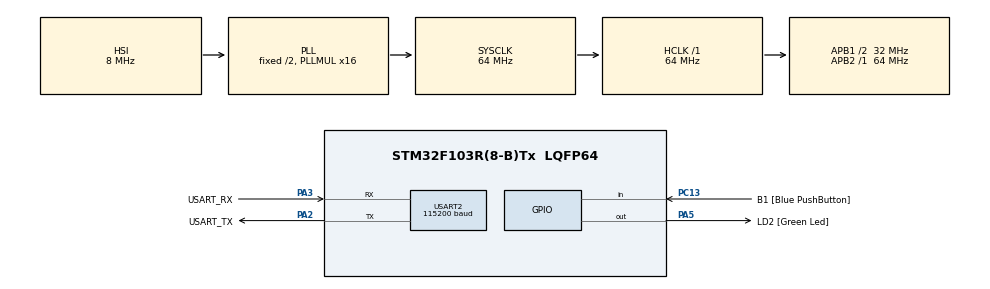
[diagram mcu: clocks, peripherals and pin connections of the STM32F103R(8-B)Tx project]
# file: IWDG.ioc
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IWDG.Prescaler=IWDG_PRESCALER_64
IWDG.Reload=624
Mcu.Family=STM32F1
Mcu.Name=STM32F103R(8-B)Tx
Mcu.Package=LQFP64
NVIC.PriorityGroup=NVIC_PRIORITYGROUP_4
PA13.GPIO_Label=TMS
PA13.Mode=Serial_Wire
PA13.Signal=SYS_JTMS-SWDIO
PA14.GPIO_Label=TCK
PA14.Mode=Serial_Wire
PA14.Signal=SYS_JTCK-SWCLK
PA2.GPIO_Label=USART_TX
PA2.GPIO_Mode=GPIO_MODE_AF_PP
PA2.GPIO_PuPd=GPIO_NOPULL
PA2.GPIO_Speed=GPIO_SPEED_FREQ_LOW
PA2.Mode=Asynchronous
PA2.Signal=USART2_TX
PA3.GPIO_Label=USART_RX
PA3.GPIO_PuPd=GPIO_NOPULL
PA3.GPIO_Speed=GPIO_SPEED_FREQ_LOW
PA3.Mode=Asynchronous
PA3.Signal=USART2_RX
PA5.GPIO_Label=LD2 [Green Led]
PA5.GPIO_ModeDefaultOutputPP=GPIO_MODE_OUTPUT_PP
PA5.GPIO_PuPd=GPIO_NOPULL
PA5.GPIO_Speed=GPIO_SPEED_FREQ_LOW
PA5.Signal=GPIO_Output
PB3.GPIO_Label=SWO
PB3.Signal=SYS_JTDO-TRACESWO
PC13-TAMPER-RTC.GPIO_Label=B1 [Blue PushButton]
PC13-TAMPER-RTC.GPIO_PuPd=GPIO_NOPULL
PC13-TAMPER-RTC.Signal=GPIO_Input
PC14-OSC32_IN.Mode=LSE-External-Oscillator
PC14-OSC32_IN.Signal=RCC_OSC32_IN
PC15-OSC32_OUT.Mode=LSE-External-Oscillator
PC15-OSC32_OUT.Signal=RCC_OSC32_OUT
PD0-OSC_IN.Mode=HSE-External-Clock-Source
PD0-OSC_IN.Signal=RCC_OSC_IN
PD1-OSC_OUT.Mode=HSE-External-Clock-Source
PD1-OSC_OUT.Signal=RCC_OSC_OUT
ProjectManager.HeapSize=0x200
ProjectManager.StackSize=0x400
ProjectManager.TargetToolchain=STM32CubeIDE
RCC.AHBFreq_Value=64000000
RCC.APB1CLKDivider=RCC_HCLK_DIV2
RCC.APB1Freq_Value=32000000
RCC.APB1TimFreq_Value=64000000
RCC.APB2Freq_Value=64000000
RCC.APB2TimFreq_Value=64000000
RCC.HCLKFreq_Value=64000000
RCC.PLLMUL=RCC_PLL_MUL16
RCC.RTCClockSelection=RCC_RTCCLKSOURCE_LSE
RCC.SYSCLKFreq_VALUE=64000000
RCC.SYSCLKSource=RCC_SYSCLKSOURCE_PLLCLK
RCC.USBFreq_Value=64000000
USART2.BaudRate=115200
USART2.VirtualMode=VM_ASYNC
VP_IWDG_VS_IWDG.Mode=IWDG_Activate
board=NUCLEO-F103RB

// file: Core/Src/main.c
/* USER CODE BEGIN Header */
/**
 ******************************************************************************
 * @file           : main.c
 * @brief          : Main program body
 ******************************************************************************
 * @attention
 *
 * Copyright (c) 2026 STMicroelectronics.
 * All rights reserved.
 *
 * This software is licensed under terms that can be found in the LICENSE file
 * in the root directory of this software component.
 * If no LICENSE file comes with this software, it is provided AS-IS.
 *
 ******************************************************************************
 */
/**
 * 07_IWDG_HAL_c  —  [계층: HAL]  독립 워치독(IWDG): 저속 내부 클럭(LSI)으로 도는 "마지막 안전장치"
 *
 * 02_WWDG 와의 비교
 *   WWDG : APB1 클럭 기반, "창(window)" 안에서만 리프레시 허용 (너무 빠른 리프레시도 리셋), 조기 경고 인터럽트, 짧은 타임아웃(ms).
 *   IWDG : **독립 저속 오실레이터 LSI(약 40kHz)** 로 동작 -> 메인 클럭이 죽어도(HSE/PLL 장애) 살아 있다. 타임아웃 전에 리프레시하면 되고
 *          (창 없음), 초 단위 타임아웃 가능. 한 번 켜면 **리셋 외에는 끌 수 없다**(LSI 도 자동으로 켜진다).
 *
 * 타임아웃 계산 (RM0008 19장)
 *   t = (reload + 1) x prescaler / f_LSI      (f_LSI 는 30~60kHz 로 개체/온도에 따라 크게 다르다, 공칭 40kHz)
 *   이 예제: prescaler = 64, reload = 624 -> 625 x 64 / 40000 = 1.0 s (공칭).  실제로는 0.67 ~ 1.33 s 범위.
 *   => IWDG 는 "정확한 시간"이 아니라 "이 정도 시간 안에 응답이 없으면 리셋"하는 용도이므로, 리프레시 주기를 타임아웃의 절반 이하(0.5s)로 잡는다.
 *   IWDG->KR 키: 0xCCCC 시작, 0x5555 설정 레지스터 접근 허용, 0xAAAA 리프레시(reload).  PR, RLR, SR(PVU/RVU 갱신 중 표시).
 *
 * 동작
 *   - 부팅 시 리셋 원인 출력 (RCC->CSR.IWDGRSTF -> "IWDG reset"). LD2 점등 1초로 부팅을 알린 뒤 워치독 시작.
 *   - 0.5초마다 HAL_IWDG_Refresh() 하고 LD2 토글 (정상)
 *   - B1(PC13)을 누르면 **프로그램이 멈춘 것을 흉내**(무한 루프, 리프레시 중단) -> 약 1초 뒤 IWDG 가 리셋 -> 부팅 메시지에 "IWDG reset"
 *   - 디버거로 정지 중 워치독이 리셋하지 않도록 __HAL_DBGMCU_FREEZE_IWDG() 로 디버그 중 정지시킨다.
 *
 * 리셋 원인 플래그 (RCC->CSR): IWDGRSTF(bit29), WWDGRSTF(bit30), SFTRSTF(bit28), PORRSTF(bit27), PINRSTF(bit26), LPWRRSTF(bit31)
 *   RMVF(bit24)에 1 을 써서 지운다.
 *
 * ISR: 인터럽트를 사용하지 않는다 (IWDG 는 인터럽트 없이 리셋만 한다).
 */
/* USER CODE END Header */
#include "main.h"

/* USER CODE BEGIN Includes */
#include <stdio.h>
#include <string.h>
/* USER CODE END Includes */

IWDG_HandleTypeDef hiwdg;

UART_HandleTypeDef huart2;

void SystemClock_Config(void);
static void MX_GPIO_Init(void);
static void MX_IWDG_Init(void);
static void MX_USART2_UART_Init(void);

/* USER CODE BEGIN 0 */
static void print(const char *s) { HAL_UART_Transmit(&huart2, (uint8_t *)s, (uint16_t)strlen(s), 100); }
/* USER CODE END 0 */

int main(void)
{

  /* USER CODE BEGIN 1 */
  char msg[96];
  uint32_t t_refresh;
  /* USER CODE END 1 */

  /* MCU Configuration--------------------------------------------------------*/

  /* Reset of all peripherals, Initializes the Flash interface and the Systick. */
  HAL_Init();

  /* USER CODE BEGIN Init */
  __HAL_DBGMCU_FREEZE_IWDG();                          /* DBGMCU->CR.DBG_IWDG_STOP = 1: 디버거 중단점에서 카운터 정지 (IWDG 시작 전에 설정) */
  /* USER CODE END Init */

  /* Configure the system clock */
  SystemClock_Config();

  /* Initialize all configured peripherals */
  MX_GPIO_Init();
  MX_IWDG_Init();
  MX_USART2_UART_Init();
  /* USER CODE BEGIN 2 */
  /* 리셋 원인 (RCC->CSR). IWDG 는 CubeMX 구조상 MX_IWDG_Init() 에서 이미 시작됐지만 CSR 플래그에는 영향이 없다 */
  int n = snprintf(msg, sizeof msg, "\r\n[boot] reset cause:%s%s%s%s%s\r\n",
                   __HAL_RCC_GET_FLAG(RCC_FLAG_IWDGRST) ? " IWDG" : "",
                   __HAL_RCC_GET_FLAG(RCC_FLAG_WWDGRST) ? " WWDG" : "",
                   __HAL_RCC_GET_FLAG(RCC_FLAG_SFTRST)  ? " SOFTWARE" : "",
                   __HAL_RCC_GET_FLAG(RCC_FLAG_PORRST)  ? " POWER-ON" : "",
                   __HAL_RCC_GET_FLAG(RCC_FLAG_PINRST)  ? " NRST-PIN" : "");
  HAL_UART_Transmit(&huart2, (uint8_t *)msg, (uint16_t)n, 100);
  if (__HAL_RCC_GET_FLAG(RCC_FLAG_IWDGRST)) print("*** the previous run was reset by the independent watchdog ***\r\n");
  __HAL_RCC_CLEAR_RESET_FLAGS();                                            /* CSR.RMVF = 1 */

  /* 부팅 표시: LD2 를 1초 켠다. 워치독이 이미 동작 중이므로(타임아웃 ~1s) 250ms 씩 나눠 기다리며 리프레시한다 */
  HAL_GPIO_WritePin(LD2_GPIO_Port, LD2_Pin, GPIO_PIN_SET);
  for (int i = 0; i < 4; i++)
  {
    HAL_Delay(250);
    HAL_IWDG_Refresh(&hiwdg);                                               /* IWDG->KR = 0xAAAA */
  }
  HAL_GPIO_WritePin(LD2_GPIO_Port, LD2_Pin, GPIO_PIN_RESET);

  print("watchdog started: timeout ~1s (0.67~1.33s by LSI tolerance), refresh every 0.5s, press B1 to simulate a hang\r\n");

  t_refresh = HAL_GetTick();
  /* USER CODE END 2 */

  /* Infinite loop */
  while (1)
  {

    /* USER CODE BEGIN 3 */
    if (HAL_GPIO_ReadPin(B1_GPIO_Port, B1_Pin) == GPIO_PIN_RESET)   /* GPIOC->IDR bit13 (B1: 누르면 Low) */
    {
      print("B1: simulating a hang (no more refresh) -> reset in ~1s\r\n");
      while (1) {}                                                      /* 멈춘 프로그램: 리프레시 없음 */
    }

    if (HAL_GetTick() - t_refresh >= 500)
    {
      t_refresh += 500;
      HAL_IWDG_Refresh(&hiwdg);                                         /* IWDG->KR = 0xAAAA */
      HAL_GPIO_TogglePin(LD2_GPIO_Port, LD2_Pin);
    }
  }
  /* USER CODE END 3 */
}

void SystemClock_Config(void)
{
  RCC_OscInitTypeDef RCC_OscInitStruct = {0};
  RCC_ClkInitTypeDef RCC_ClkInitStruct = {0};

  /** Initializes the RCC Oscillators according to the specified parameters
  * in the RCC_OscInitTypeDef structure.
  */
  RCC_OscInitStruct.OscillatorType = RCC_OSCILLATORTYPE_HSI;
  RCC_OscInitStruct.HSIState = RCC_HSI_ON;
  RCC_OscInitStruct.HSICalibrationValue = RCC_HSICALIBRATION_DEFAULT;
  RCC_OscInitStruct.PLL.PLLState = RCC_PLL_ON;
  RCC_OscInitStruct.PLL.PLLSource = RCC_PLLSOURCE_HSI_DIV2;
  RCC_OscInitStruct.PLL.PLLMUL = RCC_PLL_MUL16;
  if (HAL_RCC_OscConfig(&RCC_OscInitStruct) != HAL_OK)
  {
    Error_Handler();
  }

  /** Initializes the CPU, AHB and APB buses clocks
  */
  RCC_ClkInitStruct.ClockType = RCC_CLOCKTYPE_HCLK|RCC_CLOCKTYPE_SYSCLK
                              |RCC_CLOCKTYPE_PCLK1|RCC_CLOCKTYPE_PCLK2;
  RCC_ClkInitStruct.SYSCLKSource = RCC_SYSCLKSOURCE_PLLCLK;
  RCC_ClkInitStruct.AHBCLKDivider = RCC_SYSCLK_DIV1;
  RCC_ClkInitStruct.APB1CLKDivider = RCC_HCLK_DIV2;
  RCC_ClkInitStruct.APB2CLKDivider = RCC_HCLK_DIV1;

  if (HAL_RCC_ClockConfig(&RCC_ClkInitStruct, FLASH_LATENCY_2) != HAL_OK)
  {
    Error_Handler();
  }
}

static void MX_IWDG_Init(void)
{

  hiwdg.Instance = IWDG;
  hiwdg.Init.Prescaler = IWDG_PRESCALER_64;
  hiwdg.Init.Reload = 624;
  if (HAL_IWDG_Init(&hiwdg) != HAL_OK)
  {
    Error_Handler();
  }
  /* USER CODE BEGIN IWDG_Init 2 */
  /* [레지스터] IWDG->KR = 0x5555 (PR/RLR 접근 허용), IWDG->PR = 64 분주 (40kHz/64 = 625Hz), IWDG->RLR = 624 ((624+1)/625Hz = 1.0s),
   * IWDG->KR = 0xCCCC 로 시작 (이후 리셋 외에는 끌 수 없고 LSI 도 자동으로 켜진다). F1 의 IWDG 는 MspInit 이 없다. */
  /* USER CODE END IWDG_Init 2 */

}

static void MX_USART2_UART_Init(void)
{

  huart2.Instance = USART2;
  huart2.Init.BaudRate = 115200;
  huart2.Init.WordLength = UART_WORDLENGTH_8B;
  huart2.Init.StopBits = UART_STOPBITS_1;
  huart2.Init.Parity = UART_PARITY_NONE;
  huart2.Init.Mode = UART_MODE_TX_RX;
  huart2.Init.HwFlowCtl = UART_HWCONTROL_NONE;
  huart2.Init.OverSampling = UART_OVERSAMPLING_16;
  if (HAL_UART_Init(&huart2) != HAL_OK)
  {
    Error_Handler();
  }
  /* USER CODE BEGIN USART2_Init 2 */
  /* USART2 (ST-Link 가상 COM, PA2=TX / PA3=RX) 기본 폴링 송신용. 클럭/핀 설정은 stm32f1xx_hal_msp.c 의 HAL_UART_MspInit 에 있다. */
  /* USER CODE END USART2_Init 2 */

}

static void MX_GPIO_Init(void)
{
  GPIO_InitTypeDef GPIO_InitStruct = {0};

  /* GPIO Ports Clock Enable */
  __HAL_RCC_GPIOC_CLK_ENABLE();
  __HAL_RCC_GPIOD_CLK_ENABLE();
  __HAL_RCC_GPIOA_CLK_ENABLE();
  __HAL_RCC_GPIOB_CLK_ENABLE();

  /*Configure GPIO pin Output Level */
  HAL_GPIO_WritePin(LD2_GPIO_Port, LD2_Pin, GPIO_PIN_RESET);

  /*Configure GPIO pin : B1_Pin */
  GPIO_InitStruct.Pin = B1_Pin;
  GPIO_InitStruct.Mode = GPIO_MODE_INPUT;
  GPIO_InitStruct.Pull = GPIO_NOPULL;
  HAL_GPIO_Init(B1_GPIO_Port, &GPIO_InitStruct);

  /*Configure GPIO pin : LD2_Pin */
  GPIO_InitStruct.Pin = LD2_Pin;
  GPIO_InitStruct.Mode = GPIO_MODE_OUTPUT_PP;
  GPIO_InitStruct.Pull = GPIO_NOPULL;
  GPIO_InitStruct.Speed = GPIO_SPEED_FREQ_LOW;
  HAL_GPIO_Init(LD2_GPIO_Port, &GPIO_InitStruct);

}

void Error_Handler(void)
{
  __disable_irq();
  while (1) {
  }
}
#ifdef USE_FULL_ASSERT
/**
  * @brief  Reports the name of the source file and the source line number
  *         where the assert_param error has occurred.
  * @param  file: pointer to the source file name
  * @param  line: assert_param error line source number
  * @retval None
  */
void assert_failed(uint8_t *file, uint32_t line)
{
  /* USER CODE BEGIN 6 */
  /* User can add his own implementation to report the file name and line
     number, ex: printf("Wrong parameters value: file %s on line %d\r\n", file,
     line) */
  /* USER CODE END 6 */
}
#endif /* USE_FULL_ASSERT */
